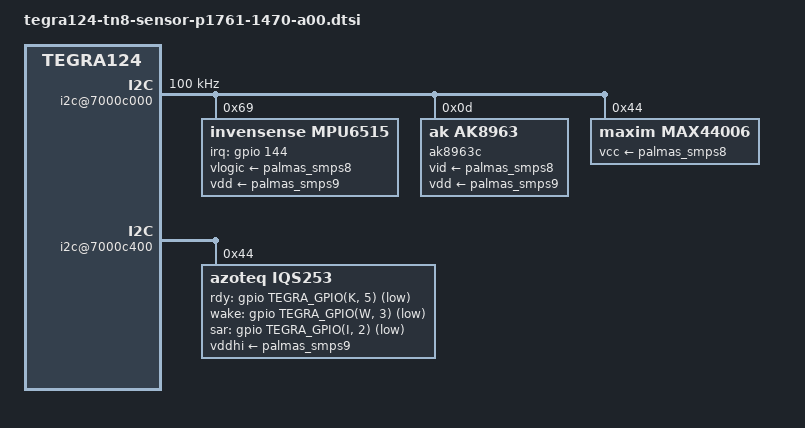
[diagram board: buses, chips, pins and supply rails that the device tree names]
#include <dt-bindings/gpio/tegra-gpio.h>

/ {
	i2c@7000c000 {
		status = "okay";
		clock-frequency = <100000>;

		mpu6515@69 {
			compatible = "invensense,mpu6515";
			reg = <0x69>;
			interrupt-parent = <&gpio>;
			interrupts = <144 0x01>;
			invensense,int_config = <0x10>;
			invensense,level_shifter = <0>;
			invensense,orientation = [ff 00 00 00 01 00 00 00 ff];
			invensense,sec_slave_type = <0>;
			invensense,key = [4e cc 7e eb f6 1e 35 22
					  00 34 0d 65 32 e9 94 89];
			vlogic-supply = <&palmas_smps8>;
			vdd-supply = <&palmas_smps9>;
		};

		ak8963c@0d {
			compatible = "ak,ak8963";
			reg = <0x0d>;
			orientation = [ff 00 00 00 01 00 00 00 ff];
			config = "mpu";
			vid-supply = <&palmas_smps8>;
			vdd-supply = <&palmas_smps9>;
		};

		max44006@44 {
			compatible = "maxim,max44006";
			reg = <0x44>;
			vcc-supply = <&palmas_smps8>;
		};
	};

	i2c@7000c400 {
		status = "okay";

		iqs253@44 {
			compatible = "azoteq,iqs253";
			reg = <0x44>;
			vddhi-supply = <&palmas_smps9>;
			vendor = "Azoteq";
			proximity,max-range = "2"; /* 2 cm */
			proximity,integration-time = "16000000"; /* 16 msec */
			proximity,power-consumed = "1.67"; /* approx mA */
			rdy-gpio = <&gpio TEGRA_GPIO(K, 5) GPIO_ACTIVE_LOW>;
			wake-gpio = <&gpio TEGRA_GPIO(W, 3) GPIO_ACTIVE_LOW>;
			sar-gpio = <&gpio TEGRA_GPIO(I, 2) GPIO_ACTIVE_LOW>;
		};
	};
};
